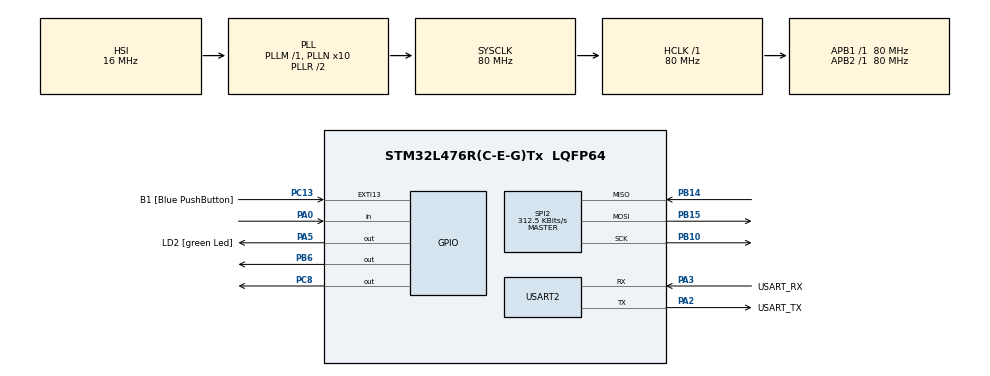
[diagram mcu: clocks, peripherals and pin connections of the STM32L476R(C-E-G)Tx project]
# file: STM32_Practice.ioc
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Mcu.Family=STM32L4
Mcu.Name=STM32L476R(C-E-G)Tx
Mcu.Package=LQFP64
NUCLEO-L476RG.Bsp_Common_DEMO=true
NVIC.PriorityGroup=NVIC_PRIORITYGROUP_4
PA0.GPIO_PuPd=GPIO_PULLUP
PA0.Signal=GPIO_Input
PA13\ (JTMS-SWDIO).GPIO_Label=TMS
PA13\ (JTMS-SWDIO).Mode=Serial_Wire
PA13\ (JTMS-SWDIO).Signal=SYS_JTMS-SWDIO
PA14\ (JTCK-SWCLK).GPIO_Label=TCK
PA14\ (JTCK-SWCLK).Mode=Serial_Wire
PA14\ (JTCK-SWCLK).Signal=SYS_JTCK-SWCLK
PA2.GPIO_Label=USART_TX
PA2.GPIO_Mode=GPIO_MODE_AF_PP
PA2.GPIO_PuPd=GPIO_NOPULL
PA2.GPIO_Speed=GPIO_SPEED_FREQ_VERY_HIGH
PA2.Mode=Asynchronous
PA2.Signal=USART2_TX
PA3.GPIO_Label=USART_RX
PA3.GPIO_Mode=GPIO_MODE_AF_PP
PA3.GPIO_PuPd=GPIO_NOPULL
PA3.GPIO_Speed=GPIO_SPEED_FREQ_VERY_HIGH
PA3.Mode=Asynchronous
PA3.Signal=USART2_RX
PA5.GPIO_Label=LD2 [green Led]
PA5.GPIO_ModeDefaultOutputPP=GPIO_MODE_OUTPUT_PP
PA5.GPIO_PuPd=GPIO_NOPULL
PA5.GPIO_Speed=GPIO_SPEED_FREQ_LOW
PA5.Signal=GPIO_Output
PB10.GPIO_Speed=GPIO_SPEED_FREQ_LOW
PB10.Mode=Full_Duplex_Master
PB10.Signal=SPI2_SCK
PB14.GPIO_PuPd=GPIO_NOPULL
PB14.GPIO_Speed=GPIO_SPEED_FREQ_LOW
PB14.Mode=Full_Duplex_Master
PB14.Signal=SPI2_MISO
PB15.GPIO_Speed=GPIO_SPEED_FREQ_LOW
PB15.Mode=Full_Duplex_Master
PB15.Signal=SPI2_MOSI
PB3\ (JTDO-TRACESWO).GPIO_Label=SWO
PB3\ (JTDO-TRACESWO).Signal=SYS_JTDO-SWO
PB6.PinState=GPIO_PIN_SET
PB6.Signal=GPIO_Output
PC13.GPIO_Label=B1 [Blue PushButton]
PC13.GPIO_ModeDefaultEXTI=GPIO_MODE_IT_FALLING
PC13.GPIO_PuPd=GPIO_NOPULL
PC13.Signal=GPXTI13
PC14-OSC32_IN\ (PC14).Signal=RCC_OSC32_IN
PC15-OSC32_OUT\ (PC15).Signal=RCC_OSC32_OUT
PC8.PinState=GPIO_PIN_SET
PC8.Signal=GPIO_Output
PH0-OSC_IN\ (PH0).Signal=RCC_OSC_IN
PH1-OSC_OUT\ (PH1).Signal=RCC_OSC_OUT
ProjectManager.HeapSize=0x200
ProjectManager.StackSize=0x400
ProjectManager.TargetToolchain=STM32CubeIDE
RCC.ADCFreq_Value=64000000
RCC.AHBFreq_Value=80000000
RCC.APB1Freq_Value=80000000
RCC.APB1TimFreq_Value=80000000
RCC.APB2Freq_Value=80000000
RCC.APB2TimFreq_Value=80000000
RCC.CortexFreq_Value=80000000
RCC.HCLKFreq_Value=80000000
RCC.HSE_VALUE=8000000
RCC.HSI_VALUE=16000000
RCC.LSE_VALUE=32768
RCC.MSI_VALUE=4000000
RCC.PLLN=10
RCC.PLLSourceVirtual=RCC_PLLSOURCE_HSI
RCC.PREFETCH_ENABLE=1
RCC.SYSCLKFreq_VALUE=80000000
RCC.SYSCLKSource=RCC_SYSCLKSOURCE_PLLCLK
RCC.USBFreq_Value=64000000
RCC.VCOOutputFreq_Value=160000000
SPI2.BaudRatePrescaler=SPI_BAUDRATEPRESCALER_256
SPI2.CalculateBaudRate=312.5 KBits/s
SPI2.DataSize=SPI_DATASIZE_8BIT
SPI2.Direction=SPI_DIRECTION_2LINES
SPI2.Mode=SPI_MODE_MASTER
SPI2.VirtualType=VM_MASTER
USART2.VirtualMode-Asynchronous=VM_ASYNC
VP_NUCLEO-L476RG_VS_BSP_COMMON.Mode=COMMON
board=NUCLEO-L476RG

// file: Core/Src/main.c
/* USER CODE BEGIN Header */
/**
  ******************************************************************************
  * @file           : main.c
  * @brief          : Main program body
  ******************************************************************************
  * @attention
  *
  * Copyright (c) 2026 STMicroelectronics.
  * All rights reserved.
  *
  * This software is licensed under terms that can be found in the LICENSE file
  * in the root directory of this software component.
  * If no LICENSE file comes with this software, it is provided AS-IS.
  *
  ******************************************************************************
  */
/* USER CODE END Header */
#include "main.h"
#include "spi.h"
#include "usart.h"
#include "gpio.h"

/* USER CODE BEGIN Includes */
#include <stdio.h>
/* USER CODE END Includes */

void SystemClock_Config(void);

/* USER CODE BEGIN 0 */
int __io_putchar(int ch){
	HAL_UART_Transmit(&huart2, (uint8_t*)&ch, 1, HAL_MAX_DELAY);
	return 0;
}

void ADXL362_WakeUp(){
	uint8_t writeInfo[3] = {0x0A, 0x2D, 0x02};
	HAL_GPIO_WritePin(GPIOB, GPIO_PIN_6, GPIO_PIN_RESET);
	HAL_SPI_Transmit(&hspi2, writeInfo, 3, 10);
	HAL_GPIO_WritePin(GPIOB, GPIO_PIN_6, GPIO_PIN_SET);
}

// status: 0: x axis; 1: y axis; 2: z axis
uint16_t sensor_read(int status){
	HAL_GPIO_WritePin(GPIOB, GPIO_PIN_6, GPIO_PIN_RESET);
	uint8_t spiCommand = 0x0B;
	HAL_SPI_Transmit(&hspi2, &spiCommand, 1, 10);

	uint8_t axis_register;
	switch(status){
		case 0:
			axis_register = 0x0E;
			break;
		case 1:
			axis_register = 0x10;
			break;
		case 2:
			axis_register = 0x12;
			break;
		default:
			axis_register = 0x00;
			break;
	}
	HAL_SPI_Transmit(&hspi2, &axis_register, 1, 10);
	uint8_t axis_raw[2];
	HAL_SPI_Receive(&hspi2, axis_raw, 2, 10);
	HAL_GPIO_WritePin(GPIOB, GPIO_PIN_6, GPIO_PIN_SET);

	uint16_t returnValue = axis_raw[0] | (axis_raw[1] << 8);
	printf("return value is: %04X\r\n", returnValue);
	return returnValue;
}

uint8_t read_reg(uint8_t addr){
	uint8_t cmd = 0x0B;
	uint8_t returnValue = 0x5A;   // 刻意給一個特別的初始值
	HAL_GPIO_WritePin(GPIOB, GPIO_PIN_6, GPIO_PIN_RESET);
	HAL_SPI_Transmit(&hspi2, &cmd, 1, 10);
	HAL_SPI_Transmit(&hspi2, &addr, 1, 10);
	HAL_SPI_Receive(&hspi2, &returnValue, 1, 10);
	HAL_GPIO_WritePin(GPIOB, GPIO_PIN_6, GPIO_PIN_SET);
	return returnValue;
}

uint8_t get_sensor_IDRegister(){
	HAL_GPIO_WritePin(GPIOB, GPIO_PIN_6, GPIO_PIN_RESET);
	uint8_t spiCommand = 0x0B;
	uint8_t register_addr = 0x00;
	uint8_t returnValue;
	HAL_StatusTypeDef s1, s2, s3;

	s1 = HAL_SPI_Transmit(&hspi2, (const uint8_t*) &spiCommand, 1, 10);
	s2 = HAL_SPI_Transmit(&hspi2, (const uint8_t*) &register_addr, 1, 10);
	s3 = HAL_SPI_Receive(&hspi2, &returnValue, 1, 10);
	HAL_GPIO_WritePin(GPIOB, GPIO_PIN_6, GPIO_PIN_SET);
	return returnValue;
}

float convert_to_SI(int16_t register_data){
	printf("current value is: %d\r\n", register_data);
	return register_data * 0.001f * 9.8;
}

/* USER CODE END 0 */

int main(void)
{

  /* MCU Configuration--------------------------------------------------------*/

  /* Reset of all peripherals, Initializes the Flash interface and the Systick. */
  HAL_Init();

  /* Configure the system clock */
  SystemClock_Config();

  /* Initialize all configured peripherals */
  MX_GPIO_Init();
  MX_USART2_UART_Init();
  MX_SPI2_Init();
  /* USER CODE BEGIN 2 */
  printf("Hello, World\r\n");
  HAL_Delay(100);
  printf("ID = 0x%02X\r\n", get_sensor_IDRegister());
  // printf("get_sensor_IDRegister() is: %d\r\n", get_sensor_IDRegister());
  if(get_sensor_IDRegister() == 0xAD){
	  printf("ADXL is connected\r\n");
  }
  else{
	  printf("ADXL is not connected\r\n");
  }
  HAL_Delay(10);
  for (int i = 0; i < 3; i++) {
  	printf("0x00 = 0x%02X  0x01 = 0x%02X  0x02 = 0x%02X\r\n",
  	       read_reg(0x00), read_reg(0x01), read_reg(0x02));
  	HAL_Delay(100);
  }

  /*
  uint8_t tx = 0xA5, rx = 0;
  HAL_SPI_TransmitReceive(&hspi2, &tx, &rx, 1, 10);
  printf("loopback: got 0x%02X\r\n", rx);

  HAL_Delay(10);
  printf("0x00 = 0x%02X (expect 0xAD)\r\n", read_reg(0x00));
  printf("0x01 = 0x%02X (expect 0x1D)\r\n", read_reg(0x01));
  printf("0x02 = 0x%02X (expect 0xF2)\r\n", read_reg(0x02));
  read_reg(0x00);   // 先讓 SPI 啟動一次
  while (1) {       // 暫時的測試迴圈，測完刪掉
  	printf("A0 = %d\r\n", HAL_GPIO_ReadPin(GPIOA, GPIO_PIN_0));
  	HAL_Delay(500);
  }
	*/

  /* USER CODE END 2 */

  /* Infinite loop */
  /* USER CODE BEGIN WHILE */
  ADXL362_WakeUp();
  while (1)
  {

	  HAL_GPIO_WritePin(LD2_GPIO_Port, LD2_Pin, GPIO_PIN_RESET);
	  HAL_Delay(500);
	  HAL_GPIO_WritePin(LD2_GPIO_Port, LD2_Pin, GPIO_PIN_SET);
	  HAL_Delay(500);

	  uint16_t x_acceleration_raw = sensor_read(0);
	  uint16_t y_acceleration_raw = sensor_read(1);
	  uint16_t z_acceleration_raw = sensor_read(2);
	  float x_acceleration_si = convert_to_SI(x_acceleration_raw);
	  float y_acceleration_si = convert_to_SI(y_acceleration_raw);
	  float z_acceleration_si = convert_to_SI(z_acceleration_raw);
	  printf("x_acceleration: %f, y_acceleration: %f, z_acceleration: %f\r\n", x_acceleration_si, y_acceleration_si, z_acceleration_si);

    /* USER CODE END WHILE */

  }
}

void SystemClock_Config(void)
{
  RCC_OscInitTypeDef RCC_OscInitStruct = {0};
  RCC_ClkInitTypeDef RCC_ClkInitStruct = {0};

  /** Configure the main internal regulator output voltage
  */
  if (HAL_PWREx_ControlVoltageScaling(PWR_REGULATOR_VOLTAGE_SCALE1) != HAL_OK)
  {
    Error_Handler();
  }

  /** Initializes the RCC Oscillators according to the specified parameters
  * in the RCC_OscInitTypeDef structure.
  */
  RCC_OscInitStruct.OscillatorType = RCC_OSCILLATORTYPE_HSI;
  RCC_OscInitStruct.HSIState = RCC_HSI_ON;
  RCC_OscInitStruct.HSICalibrationValue = RCC_HSICALIBRATION_DEFAULT;
  RCC_OscInitStruct.PLL.PLLState = RCC_PLL_ON;
  RCC_OscInitStruct.PLL.PLLSource = RCC_PLLSOURCE_HSI;
  RCC_OscInitStruct.PLL.PLLM = 1;
  RCC_OscInitStruct.PLL.PLLN = 10;
  RCC_OscInitStruct.PLL.PLLP = RCC_PLLP_DIV7;
  RCC_OscInitStruct.PLL.PLLQ = RCC_PLLQ_DIV2;
  RCC_OscInitStruct.PLL.PLLR = RCC_PLLR_DIV2;
  if (HAL_RCC_OscConfig(&RCC_OscInitStruct) != HAL_OK)
  {
    Error_Handler();
  }

  /** Initializes the CPU, AHB and APB buses clocks
  */
  RCC_ClkInitStruct.ClockType = RCC_CLOCKTYPE_HCLK|RCC_CLOCKTYPE_SYSCLK
                              |RCC_CLOCKTYPE_PCLK1|RCC_CLOCKTYPE_PCLK2;
  RCC_ClkInitStruct.SYSCLKSource = RCC_SYSCLKSOURCE_PLLCLK;
  RCC_ClkInitStruct.AHBCLKDivider = RCC_SYSCLK_DIV1;
  RCC_ClkInitStruct.APB1CLKDivider = RCC_HCLK_DIV1;
  RCC_ClkInitStruct.APB2CLKDivider = RCC_HCLK_DIV1;

  if (HAL_RCC_ClockConfig(&RCC_ClkInitStruct, FLASH_LATENCY_4) != HAL_OK)
  {
    Error_Handler();
  }
}

void Error_Handler(void)
{
  __disable_irq();
  while (1)
  {
  }
}
